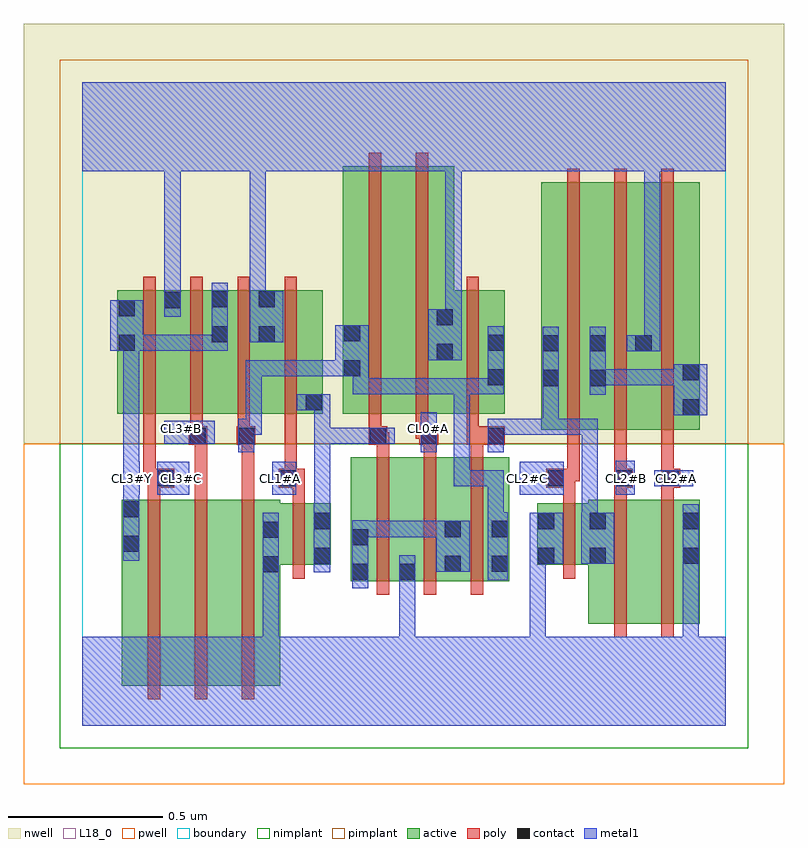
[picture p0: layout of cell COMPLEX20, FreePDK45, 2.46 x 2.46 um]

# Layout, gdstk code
import gdstk
lib = gdstk.Library(unit=1e-6, precision=1e-09)
def R(c, l, rs):  # rectangles x0, y0, x1, y1
    for r in rs: c.add(gdstk.rectangle(r[:2], r[2:], *l))
def A(c, l, x, y, w, h, nx, ny, dx, dy):  # array of equal rectangles
    R(c, l, [(x+i*dx, y+j*dy, x+i*dx+w, y+j*dy+h) for i in range(nx) for j in range(ny)])
active = (1, 0)
pwell = (2, 0)
nwell = (3, 0)
nimplant = (4, 0)
pimplant = (5, 0)
poly = (9, 0)
contact = (10, 0)
metal1 = (11, 0)
L18_0 = (18, 0)
boundary = (235, 0)

complex20 = lib.new_cell('COMPLEX20')
A(complex20, active, 0.262, 1.008, 0.212, 0.4, 3, 1, 0.152, 0)
R(complex20, active, [(0.128,0.13,0.308,0.73), (0.308,0.13,0.46,0.73), (0.46,0.13,0.64,0.73), (0.58,0.13,0.64,0.664), (0.128,0.268,0.212,0.73), (1.636,0.33,1.816,0.73), (1.816,0.33,1.996,0.73), (0.868,0.468,0.928,0.868), (0.868,0.468,1.08,0.868), (1.02,0.468,1.228,0.868), (1.02,0.468,1.08,0.528), (1.168,0.468,1.228,0.868), (1.168,0.468,1.38,0.868), (1.32,0.468,1.38,0.868), (1.936,0.468,1.996,0.73), (0.58,0.52,0.804,0.72), (0.744,0.52,0.804,0.72), (1.47,0.52,1.696,0.72), (1.47,0.52,1.53,0.72), (1.636,0.52,1.696,0.692), (1.484,0.956,1.544,1.724), (1.484,0.956,1.696,1.756), (1.636,0.956,1.844,1.756), (1.784,0.956,1.996,1.756), (1.784,0.956,1.844,1.756), (1.936,0.956,1.996,1.724), (0.114,1.008,0.322,1.408), (0.114,1.008,0.174,1.38), (0.414,1.008,0.474,1.408), (0.718,1.008,0.778,1.356), (0.842,1.008,1.022,1.808), (0.842,1.008,0.926,1.724), (1.022,1.008,1.202,1.808), (1.142,1.008,1.202,1.356), (1.142,1.008,1.366,1.408), (1.306,1.008,1.366,1.356), (1.636,1.046,1.696,1.724), (0.566,1.076,0.626,1.408), (0.262,1.138,0.322,1.406)])
R(complex20, pwell, [(-0.188,-0.188,2.268,0.912)])
R(complex20, nwell, [(-0.188,0.912,2.268,2.268)])
R(complex20, nimplant, [(-0.072,-0.072,2.152,0.912)])
R(complex20, pimplant, [(-0.072,0.912,2.152,2.152)])
A(complex20, poly, 0.212, 0.086, 0.04, 0.688, 3, 1, 0.152, 0)
A(complex20, poly, 0.952, 0.424, 0.04, 0.488, 3, 1, 0.152, 0)
A(complex20, poly, 1.568, 0.79, 0.04, 0.162, 3, 1, 0.152, 0)
A(complex20, poly, 0.952, 0.872, 0.04, 0.076, 3, 1, 0.152, 0)
A(complex20, poly, 1.568, 0.912, 0.04, 0.888, 3, 1, 0.152, 0)
A(complex20, poly, 0.198, 0.964, 0.04, 0.488, 4, 1, 0.152, 0)
R(complex20, poly, [(1.72,0.286,1.76,0.774), (1.872,0.286,1.912,0.774), (0.68,0.476,0.72,0.764), (1.554,0.476,1.594,0.764), (0.68,0.724,0.72,0.81), (1.554,0.724,1.594,0.81), (0.212,0.734,0.252,0.81), (0.364,0.734,0.404,0.948), (0.516,0.734,0.556,0.948), (1.72,0.734,1.76,0.81), (1.872,0.734,1.912,0.81), (0.212,0.77,0.298,0.83), (0.636,0.77,0.72,0.83), (1.5,0.77,1.594,0.83), (1.72,0.77,1.76,0.81), (1.72,0.77,1.76,0.81), (1.72,0.77,1.78,0.83), (1.872,0.77,1.912,0.81), (1.872,0.77,1.912,0.81), (1.872,0.77,1.932,0.83), (0.198,0.79,0.252,0.83), (0.198,0.79,0.238,1.004), (0.212,0.79,0.252,0.83), (0.654,0.79,0.694,0.83), (0.654,0.79,0.694,0.83), (0.654,0.79,0.694,1.004), (1.554,0.79,1.594,0.83), (1.554,0.79,1.608,0.83), (0.344,0.908,0.404,0.968), (0.364,0.908,0.404,0.948), (0.364,0.908,0.404,0.948), (0.5,0.908,0.56,0.968), (0.516,0.908,0.556,0.948), (0.516,0.908,0.556,0.948), (0.926,0.908,0.986,0.968), (0.946,0.908,0.986,0.948), (0.946,0.908,0.992,0.948), (1.09,0.908,1.15,0.968), (1.242,0.908,1.366,0.968), (1.256,0.908,1.296,0.948), (1.256,0.908,1.296,0.948), (0.35,0.928,0.39,1.004), (0.502,0.928,0.542,1.004), (0.926,0.928,0.966,1.004), (1.078,0.928,1.118,1.004), (1.078,0.928,1.13,0.968), (1.09,0.928,1.13,0.968), (1.242,0.928,1.282,1.004), (0.926,0.964,0.966,1.852), (1.078,0.964,1.118,1.852), (1.242,0.964,1.282,1.452)])
R(complex20, contact, [(0.872,0.472,0.924,0.524), (1.024,0.472,1.076,0.524), (0.584,0.496,0.636,0.548), (1.172,0.498,1.224,0.55), (1.324,0.498,1.376,0.55), (0.748,0.524,0.8,0.576), (1.474,0.524,1.526,0.576), (1.64,0.524,1.692,0.576), (1.94,0.524,1.992,0.576), (0.132,0.562,0.184,0.614), (0.872,0.584,0.924,0.636), (0.584,0.608,0.636,0.66), (1.172,0.61,1.224,0.662), (1.324,0.61,1.376,0.662), (0.748,0.636,0.8,0.688), (1.474,0.636,1.526,0.688), (1.64,0.636,1.692,0.688), (1.94,0.636,1.992,0.688), (0.132,0.674,0.184,0.726), (0.242,0.774,0.294,0.826), (0.64,0.774,0.692,0.826), (1.504,0.774,1.556,0.826), (1.724,0.774,1.776,0.826), (1.876,0.774,1.928,0.826), (0.348,0.912,0.4,0.964), (0.504,0.912,0.556,0.964), (0.93,0.912,0.982,0.964), (1.094,0.912,1.146,0.964), (1.31,0.912,1.362,0.964), (1.94,1.004,1.992,1.056), (0.722,1.02,0.774,1.072), (1.488,1.098,1.54,1.15), (1.64,1.098,1.692,1.15), (1.31,1.1,1.362,1.152), (1.94,1.116,1.992,1.168), (0.846,1.13,0.898,1.182), (1.146,1.182,1.198,1.234), (1.488,1.21,1.54,1.262), (1.64,1.21,1.692,1.262), (1.788,1.21,1.84,1.262), (0.118,1.212,0.17,1.264), (1.31,1.212,1.362,1.264), (0.418,1.24,0.47,1.292), (0.57,1.24,0.622,1.292), (0.846,1.242,0.898,1.294), (1.146,1.294,1.198,1.346), (0.118,1.324,0.17,1.376), (0.266,1.35,0.318,1.402), (0.418,1.352,0.47,1.404), (0.57,1.352,0.622,1.404)])
R(complex20, metal1, [(0,0,2.08,0.288), (0.584,0.236,0.636,0.52), (1.024,0.236,1.076,0.288), (1.024,0.236,1.076,0.288), (1.024,0.236,1.076,0.496), (1.446,0.236,1.498,0.288), (1.446,0.236,1.498,0.288), (1.446,0.236,1.498,0.288), (1.446,0.236,1.498,0.288), (1.446,0.236,1.498,0.288), (1.446,0.236,1.498,0.288), (1.446,0.236,1.498,0.576), (1.94,0.236,1.992,0.548), (0.872,0.444,0.924,0.664), (1.024,0.444,1.076,0.552), (0.584,0.468,0.636,0.688), (1.31,0.47,1.376,0.69), (0.748,0.496,0.802,0.716), (1.94,0.496,1.992,0.548), (1.94,0.496,1.992,0.548), (1.94,0.496,1.992,0.716), (1.144,0.498,1.252,0.662), (1.446,0.524,1.554,0.688), (1.612,0.524,1.72,0.688), (0.132,0.534,0.184,0.754), (0.872,0.61,0.924,0.662), (0.872,0.61,0.924,0.662), (0.872,0.61,1.06,0.662), (1.008,0.61,1.06,0.662), (1.008,0.61,1.06,0.662), (1.008,0.61,1.06,0.662), (1.008,0.61,1.196,0.662), (1.614,0.636,1.666,0.992), (1.31,0.638,1.362,0.826), (0.75,0.664,0.802,0.716), (0.75,0.664,0.802,0.716), (0.75,0.664,0.802,0.964), (0.132,0.702,0.184,0.798), (0.132,0.746,0.186,0.854), (0.242,0.746,0.346,0.854), (0.614,0.746,0.692,0.854), (1.414,0.746,1.556,0.854), (1.724,0.746,1.786,0.856), (1.2,0.774,1.252,0.826), (1.2,0.774,1.356,0.826), (1.2,0.774,1.252,1.124), (1.304,0.774,1.356,0.826), (1.304,0.774,1.362,0.826), (1.31,0.774,1.362,0.826), (1.848,0.774,1.974,0.826), (0.132,0.802,0.184,0.854), (0.132,0.802,0.184,0.854), (0.132,0.802,0.184,1.264), (0.504,0.884,0.556,0.992), (1.094,0.884,1.146,1.014), (1.31,0.884,1.362,0.992), (0.266,0.912,0.428,0.986), (0.75,0.912,0.802,0.964), (0.75,0.912,0.802,0.964), (0.75,0.912,0.802,0.964), (0.75,0.912,0.954,0.964), (0.75,0.912,0.802,1.072), (0.902,0.912,1.01,0.964), (0.504,0.94,0.58,0.992), (0.528,0.94,0.58,0.992), (0.528,0.94,0.58,0.992), (0.528,0.94,0.58,0.992), (0.528,0.94,0.58,1.182), (1.31,0.94,1.362,0.992), (1.31,0.94,1.362,0.992), (1.31,0.94,1.54,0.992), (1.488,0.94,1.54,0.992), (1.488,0.94,1.54,0.992), (1.488,0.94,1.54,0.992), (1.488,0.94,1.666,0.992), (1.488,0.94,1.54,1.122), (1.614,0.94,1.666,0.992), (1.614,0.94,1.666,0.992), (1.614,0.94,1.666,0.992), (1.912,1.004,2.02,1.168), (0.694,1.02,0.802,1.072), (1.488,1.07,1.54,1.29), (1.64,1.07,1.692,1.29), (0.874,1.072,0.926,1.124), (0.874,1.072,0.926,1.124), (0.874,1.072,0.926,1.124), (0.874,1.072,1.04,1.124), (0.874,1.072,0.926,1.182), (0.988,1.072,1.04,1.124), (0.988,1.072,1.04,1.124), (0.988,1.072,1.04,1.124), (0.988,1.072,1.252,1.124), (1.2,1.072,1.252,1.124), (1.2,1.072,1.252,1.124), (1.2,1.072,1.252,1.124), (1.2,1.072,1.362,1.124), (1.31,1.072,1.362,1.124), (1.31,1.072,1.362,1.124), (1.31,1.072,1.362,1.292), (1.64,1.1,1.692,1.152), (1.64,1.1,1.692,1.152), (1.64,1.1,1.854,1.152), (1.802,1.1,1.854,1.152), (1.802,1.1,1.964,1.152), (1.912,1.1,1.964,1.152), (1.912,1.1,1.964,1.152), (0.528,1.13,0.58,1.182), (0.528,1.13,0.692,1.182), (0.64,1.13,0.692,1.182), (0.64,1.13,0.692,1.182), (0.64,1.13,0.692,1.182), (0.64,1.13,0.87,1.182), (0.818,1.13,0.926,1.294), (1.118,1.182,1.226,1.346), (1.76,1.21,1.868,1.262), (1.816,1.21,1.868,1.844), (0.09,1.212,0.198,1.376), (0.146,1.212,0.198,1.264), (0.146,1.212,0.198,1.264), (0.146,1.212,0.36,1.264), (0.308,1.212,0.36,1.264), (0.308,1.212,0.36,1.264), (0.308,1.212,0.36,1.264), (0.308,1.212,0.47,1.264), (0.418,1.212,0.47,1.432), (0.542,1.24,0.65,1.404), (1.174,1.294,1.226,1.844), (0.266,1.322,0.318,1.43), (0.542,1.352,0.594,1.404), (0.542,1.352,0.594,1.404), (0.542,1.352,0.594,1.844), (0.266,1.378,0.318,1.43), (0.266,1.378,0.318,1.43), (0.266,1.378,0.318,1.844), (0,1.792,2.08,2.08), (0.266,1.792,0.318,1.844), (0.266,1.792,0.318,1.844), (0.266,1.792,0.318,1.844), (0.266,1.792,0.318,1.844), (0.266,1.792,0.318,1.844), (0.266,1.792,0.318,1.844), (0.542,1.792,0.594,1.844), (0.542,1.792,0.594,1.844), (0.542,1.792,0.594,1.844), (0.542,1.792,0.594,1.844), (0.542,1.792,0.594,1.844), (0.542,1.792,0.594,1.844)])
R(complex20, L18_0, [(0,0,2.08,0.288), (0.584,0.236,0.636,0.52), (1.024,0.236,1.076,0.288), (1.024,0.236,1.076,0.288), (1.024,0.236,1.076,0.496), (1.446,0.236,1.498,0.288), (1.446,0.236,1.498,0.288), (1.446,0.236,1.498,0.288), (1.446,0.236,1.498,0.288), (1.446,0.236,1.498,0.288), (1.446,0.236,1.498,0.288), (1.446,0.236,1.498,0.576), (1.94,0.236,1.992,0.548), (1.024,0.444,1.076,0.552), (0.584,0.468,0.636,0.688), (1.94,0.496,1.992,0.716), (1.94,0.496,1.992,0.548), (1.94,0.496,1.992,0.548), (1.446,0.524,1.554,0.688), (0.132,0.534,0.184,0.754), (0.132,0.702,0.184,0.798), (0.132,0.746,0.186,0.854), (0.242,0.746,0.346,0.854), (0.614,0.746,0.692,0.854), (1.414,0.746,1.556,0.854), (1.724,0.746,1.786,0.856), (0.134,0.774,0.186,0.826), (0.294,0.774,0.346,0.826), (0.614,0.774,0.666,0.826), (1.414,0.774,1.466,0.826), (1.734,0.774,1.786,0.826), (1.848,0.774,1.974,0.826), (1.894,0.774,1.946,0.826), (0.132,0.802,0.184,0.854), (0.132,0.802,0.184,0.854), (0.132,0.802,0.184,1.264), (1.094,0.884,1.146,1.014), (0.266,0.912,0.428,0.986), (0.294,0.934,0.346,0.986), (1.094,0.934,1.146,0.986), (1.118,1.182,1.226,1.346), (1.76,1.21,1.868,1.262), (1.816,1.21,1.868,1.844), (0.09,1.212,0.198,1.376), (0.146,1.212,0.198,1.264), (0.146,1.212,0.198,1.264), (0.146,1.212,0.36,1.264), (0.308,1.212,0.36,1.264), (0.308,1.212,0.36,1.264), (0.308,1.212,0.36,1.264), (0.308,1.212,0.47,1.264), (0.418,1.212,0.47,1.432), (0.542,1.24,0.65,1.404), (1.174,1.294,1.226,1.844), (0.266,1.322,0.318,1.43), (0.542,1.352,0.594,1.404), (0.542,1.352,0.594,1.404), (0.542,1.352,0.594,1.844), (0.266,1.378,0.318,1.43), (0.266,1.378,0.318,1.43), (0.266,1.378,0.318,1.844), (0,1.792,2.08,2.08), (0.266,1.792,0.318,1.844), (0.266,1.792,0.318,1.844), (0.266,1.792,0.318,1.844), (0.266,1.792,0.318,1.844), (0.266,1.792,0.318,1.844), (0.266,1.792,0.318,1.844), (0.542,1.792,0.594,1.844), (0.542,1.792,0.594,1.844), (0.542,1.792,0.594,1.844), (0.542,1.792,0.594,1.844), (0.542,1.792,0.594,1.844), (0.542,1.792,0.594,1.844)])
R(complex20, boundary, [(0,0,2.08,2.08)])
complex20.add(gdstk.Label('CL0#A', (1.12,0.96), layer=11, texttype=0))
complex20.add(gdstk.Label('CL1#A', (0.64,0.8), layer=11, texttype=0))
complex20.add(gdstk.Label('CL2#A', (1.92,0.8), layer=11, texttype=0))
complex20.add(gdstk.Label('CL2#B', (1.76,0.8), layer=11, texttype=0))
complex20.add(gdstk.Label('CL2#C', (1.44,0.8), layer=11, texttype=0))
complex20.add(gdstk.Label('CL3#B', (0.32,0.96), layer=11, texttype=0))
complex20.add(gdstk.Label('CL3#C', (0.32,0.8), layer=11, texttype=0))
complex20.add(gdstk.Label('CL3#Y', (0.16,0.8), layer=11, texttype=0))

lib.write_gds('COMPLEX20.gds')
